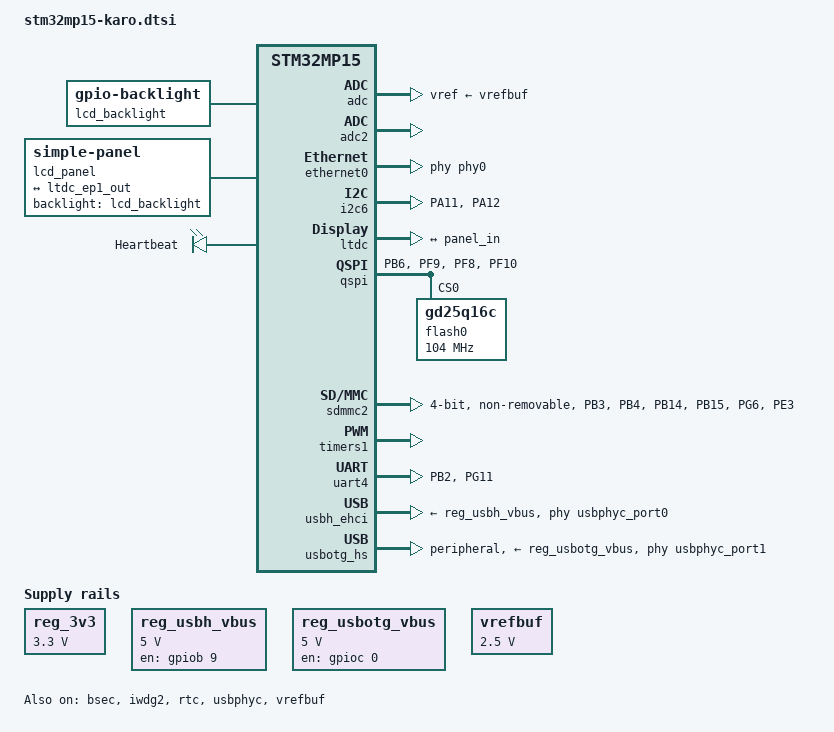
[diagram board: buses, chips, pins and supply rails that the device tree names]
// SPDX-License-Identifier: (GPL-2.0+ OR BSD-3-Clause)
/*
 * Copyright (C) 2020: Lothar Waßmann <LW@KARO-electronics.de>
 */

#include <dt-bindings/clock/stm32mp1-clksrc.h>
#include <dt-bindings/gpio/gpio.h>

/ {
	aliases {
		display = &lcd_panel;
		ethernet0 = &ethernet0;
		i2c0 = &i2c6;
		mmc0 = &sdmmc2;
		mmc1 = &sdmmc3;
		mmc2 = &sdmmc1;
		serial0 = &uart4;
		serial1 = &usart2;
		serial2 = &usart3;
		spinor0 = &flash0;
	};

	chosen {
		#address-cells = <1>;
		#size-cells = <1>;
		ranges;
		stdout-path = "serial0:115200n8";

		simplefb@cfd00000 {
			compatible = "simple-framebuffer";
			reg = <0xcfd00000 (640 * 480 * 2)>;
			width = <640>;
			height = <480>;
			stride = <(640 * 2)>;
			format = "r5g6b5";
			display = <&ltdc>;
			status = "okay";
		};
	};

	config {
		u-boot,mmc-env-partition = <1>;
		u-boot,mmc-env-offset = <0x1ff000>;
	};

	lcd_backlight: lcd-backlight {
		compatible = "gpio-backlight";
		default-on;
	};

	lcd_panel: panel {
		compatible = "simple-panel";
		pinctrl-names = "default", "sleep";
		pinctrl-0 = <&txmp_ltdc_pins>;
		pinctrl-1 = <&txmp_ltdc_pins_sleep>;
		backlight = <&lcd_backlight>;
		status = "okay";

		port {
			panel_in: endpoint {
				remote-endpoint = <&ltdc_ep1_out>;
			};
		};

		display-timings {
			native-mode = <&ETV570>;

			VGA {
				clock-frequency = <25200000>;
				hactive = <640>;
				vactive = <480>;
				hback-porch = <48>;
				hsync-len = <96>;
				hfront-porch = <16>;
				vback-porch = <31>;
				vsync-len = <2>;
				vfront-porch = <12>;
				hsync-active = <0>;
				vsync-active = <0>;
				de-active = <1>;
				pixelclk-active = <0>;
			};

			ETV570: ETV570 {
				u-boot,panel-name = "edt,et057090dhu";
				clock-frequency = <25200000>;
				hactive = <640>;
				vactive = <480>;
				hback-porch = <114>;
				hsync-len = <30>;
				hfront-porch = <16>;
				vback-porch = <32>;
				vsync-len = <3>;
				vfront-porch = <10>;
				hsync-active = <0>;
				vsync-active = <0>;
				de-active = <1>;
				pixelclk-active = <0>;
			};

			ET0350 {
				u-boot,panel-name = "edt,et0350g0dh6";
				clock-frequency = <6413760>;
				hactive = <320>;
				vactive = <240>;
				hback-porch = <34>;
				hsync-len = <34>;
				hfront-porch = <20>;
				vback-porch = <15>;
				vsync-len = <3>;
				vfront-porch = <4>;
				hsync-active = <0>;
				vsync-active = <0>;
				de-active = <1>;
				pixelclk-active = <0>;
			};

			ET0430 {
				u-boot,panel-name = "edt,et0430g0dh6";
				clock-frequency = <9009000>;
				hactive = <480>;
				vactive = <272>;
				hback-porch = <2>;
				hsync-len = <41>;
				hfront-porch = <2>;
				vback-porch = <2>;
				vsync-len = <10>;
				vfront-porch = <2>;
				hsync-active = <0>;
				vsync-active = <0>;
				de-active = <1>;
				pixelclk-active = <1>;
			};

			ET0500 {
				clock-frequency = <33264000>;
				hactive = <800>;
				vactive = <480>;
				hback-porch = <88>;
				hsync-len = <128>;
				hfront-porch = <40>;
				vback-porch = <33>;
				vsync-len = <2>;
				vfront-porch = <10>;
				hsync-active = <0>;
				vsync-active = <0>;
				de-active = <1>;
				pixelclk-active = <0>;
			};

			ET0700 { /* same as ET0500 */
				u-boot,panel-name = "edt,etm0700g0dh6";
				clock-frequency = <33264000>;
				hactive = <800>;
				vactive = <480>;
				hback-porch = <88>;
				hsync-len = <128>;
				hfront-porch = <40>;
				vback-porch = <33>;
				vsync-len = <2>;
				vfront-porch = <10>;
				hsync-active = <0>;
				vsync-active = <0>;
				de-active = <1>;
				pixelclk-active = <0>;
			};

			ETQ570 {
				clock-frequency = <6596040>;
				hactive = <320>;
				vactive = <240>;
				hback-porch = <38>;
				hsync-len = <30>;
				hfront-porch = <30>;
				vback-porch = <16>;
				vsync-len = <3>;
				vfront-porch = <4>;
				hsync-active = <0>;
				vsync-active = <0>;
				de-active = <1>;
				pixelclk-active = <0>;
			};
		};
	};

	leds {
		compatible = "gpio-leds";

		module_led: module-led {
			pinctrl-names = "default", "sleep";
			label = "Heartbeat";
			default-state = "on";
			linux,default-trigger = "heartbeat";
		};
	};

	reg_3v3: regulator-3v3 {
		compatible = "regulator-fixed";
		regulator-name = "3v3";
		regulator-min-microvolt = <3300000>;
		regulator-max-microvolt = <3300000>;
		regulator-always-on;
	};

	reg_usbh_vbus: regulator-usbh-vbus {
		compatible = "regulator-fixed";
		regulator-name = "USBH VBUS";
		regulator-min-microvolt = <5000000>;
		regulator-max-microvolt = <5000000>;
		enable-active-high;
		gpio = <&gpiob 9 GPIO_ACTIVE_HIGH>;
	};

	reg_usbotg_vbus: regulator-usbotg-vbus {
		compatible = "regulator-fixed";
		regulator-name = "USBOTG VBUS";
		regulator-min-microvolt = <5000000>;
		regulator-max-microvolt = <5000000>;
		enable-active-high;
		gpio = <&gpioc 0 GPIO_ACTIVE_HIGH>;
	};

	reserved-memory {
		#address-cells = <1>;
		#size-cells = <1>;
		ranges;

		framebuffer@cfd00000 {
			reg = <0xcfd00000 (640 * 480 * 4)>;
			no-map;
		};
	};

	sram: sram@10050000 {
		compatible = "mmio-sram";
		reg = <0x10050000 0x10000>;
		#address-cells = <1>;
		#size-cells = <1>;
		ranges = <0 0x10050000 0x10000>;

		dma_pool: dma_pool@0 {
			reg = <0x0 0x10000>;
			pool;
		};
	};
};

&adc {
	vref-supply = <&vrefbuf>;
	status = "okay";
};

&adc2 {
	st,adc-channels = <12>;
	status = "okay";
};

&bsec {
	status = "okay";
};

&ethernet0 {
	pinctrl-names = "default", "sleep";
	phy-handle = <&phy0>;
	clock-names = "stmmaceth", "mac-clk-tx", "mac-clk-rx",
		      "ethstp", "syscfg-clk", "eth-ck";
	clocks = <&rcc ETHMAC &rcc ETHTX &rcc ETHRX
		  &rcc ETHSTP &rcc SYSCFG &rcc ETHCK_K>;
	status = "okay";

	mdio0: mdio0 {
		#address-cells = <1>;
		#size-cells = <0>;
		compatible = "snps,dwmac-mdio";
	};
};

&i2c6 {
	pinctrl-names = "default", "sleep";
	pinctrl-0 = <&i2c6_pins>;
	pinctrl-1 = <&i2c6_sleep_pins>;
	status = "okay";
};

&iwdg2 {
	timeout-sec = <0>;
	status = "okay";
};

&ltdc {
	status = "okay";

	port {
		ltdc_ep1_out: endpoint {
			remote-endpoint = <&panel_in>;
		};
	};
};

&pwr_regulators {
	pwr-supply = <&reg_3v3>;
};

&usb33 {
	usb33-supply = <&reg18>;
};

&qspi {
	pinctrl-names = "default";
	pinctrl-0 = <&quadspi_pins>;
	reg = <0x58003000 0x1000>, <0x70000000 0x1000000>;
	status = "okay";

	flash0: spi-flash@0 {
		#address-cells = <1>;
		#size-cells = <1>;
		compatible = "gd25q16c", "spi-flash";
		reg = <0>;
		spi-rx-bus-width = <2>;
		spi-max-frequency = <104000000>;
		memory-map = <0x90000000 0x1000000>;
	};
};

&rtc {
	status = "okay";
};

&sdmmc2 {
	/* eMMC */
	pinctrl-names = "default", "opendrain", "sleep";
	pinctrl-0 = <&sdmmc2_pins>;
	pinctrl-1 = <&sdmmc2_opendrain_pins>;
	pinctrl-2 = <&sdmmc2_sleep_pins>;
	bus-width = <4>;
	no-sd;
	no-sdio;
	st,neg-edge;
	non-removable;
	status = "okay";
};

&timers1 {
	status = "okay";

	pwm {
		pinctrl-names = "default", "sleep";
		pinctrl-0 = <&tim1_pwm_pins>;
		pinctrl-1 = <&tim1_pwm_sleep_pins>;
		status = "okay";
	};
};

&uart4 {
	pinctrl-names = "default";
	pinctrl-0 = <&uart4_pins>;
	status = "okay";
};

&usbh_ehci {
	phy-names = "usb";
	phys = <&usbphyc_port0>;
	vbus-supply = <&reg_usbh_vbus>;
	status = "okay";
};

&usbotg_hs {
	dr_mode = "peripheral";
	phy-names = "usb2-phy";
	phys = <&usbphyc_port1 0>;
	vbus-supply = <&reg_usbotg_vbus>;
	u-boot,force-b-session-valid;
	hnp-srp-disable;
	status = "okay";
};

&usbphyc {
	status = "okay";
};

&usbphyc_port0 {
	phy-supply = <&reg_3v3>;
};

&usbphyc_port1 {
	phy-supply = <&reg_3v3>;
};

&vrefbuf {
	regulator-min-microvolt = <2500000>;
	regulator-max-microvolt = <2500000>;
	status = "okay";
};

&pinctrl {
	ethernet0_rmii_pins: ethernet0-rmii-pins {
		pins1 {
			pinmux = <
				  STM32_PINMUX('G', 8, AF2)	/* ETH_CLK */
				  STM32_PINMUX('C', 1, AF11)	/* ETH_MDC */
				  STM32_PINMUX('A', 2, AF11)	/* ETH_MDIO */
				  STM32_PINMUX('B', 11, AF11)	/* ETH_RMII_TX_EN */
				  STM32_PINMUX('G', 13, AF11)	/* ETH_RMII_TXD0 */
				  STM32_PINMUX('G', 14, AF11)	/* ETH_RMII_TXD1 */
			>;
			bias-disable;
			drive-push-pull;
			slew-rate = <2>;
		};

		pins2 {
			pinmux = <
				  STM32_PINMUX('C', 4, AF11) /* ETH_RMII_RXD0 */
				  STM32_PINMUX('C', 5, AF11) /* ETH_RMII_RXD1 */
				  STM32_PINMUX('A', 7, AF11) /* ETH_RMII_CRS_DV */
			>;
			bias-disable;
		};
	};

	ethernet0_rmii_pins_sleep: rmii-pins-sleep {
		pins1 {
			pinmux = <
				  STM32_PINMUX('G', 8, ANALOG) /* ETH_CLK */
				  STM32_PINMUX('G', 13, ANALOG) /* ETH_RMII_TXD0 */
				  STM32_PINMUX('G', 14, ANALOG) /* ETH_RMII_TXD1 */
				  STM32_PINMUX('B', 11, ANALOG) /* ETH_RMII_TX_EN */
				  STM32_PINMUX('A', 2, ANALOG) /* ETH_MDIO */
				  STM32_PINMUX('C', 1, ANALOG) /* ETH_MDC */
				  STM32_PINMUX('C', 4, ANALOG) /* ETH_RMII_RXD0 */
				  STM32_PINMUX('C', 5, ANALOG) /* ETH_RMII_RXD1 */
				  STM32_PINMUX('A', 7, ANALOG) /* ETH_RMII_CRS_DV */
			>;
		};
	};

	i2c6_pins: i2c6-pins {
		pins {
			pinmux = <
				 STM32_PINMUX('A', 11, AF2) /* I2C6_SCL */
				 STM32_PINMUX('A', 12, AF2) /* I2C6_SDA */
			>;
			bias-disable;
			drive-open-drain;
			slew-rate = <0>;
		};
	};

	i2c6_sleep_pins: i2c6-sleep-pins {
		pins {
			pinmux = <
				  STM32_PINMUX('A', 11, ANALOG) /* I2C6_SCL */
				  STM32_PINMUX('A', 12, ANALOG) /* I2C6_SDA */
			>;
		};
	};

	quadspi_pins: quadspi-pins {
		pins1 {
			pinmux = <
				  STM32_PINMUX('B', 6, AF10)	/* QUADSPI_BK1_NCS */
				  STM32_PINMUX('F', 9, AF10)	/* QUADSPI_BK1_IO1 */
				  STM32_PINMUX('F', 8, AF10)	/* QUADSPI_BK1_IO0 */
			>;
			bias-disable;
			drive-push-pull;
			slew-rate = <1>;
		};

		pins2 {
			pinmux = <STM32_PINMUX('F', 10, AF9)>; /* QUADSPI_CLK */
			bias-disable;
			drive-push-pull;
			slew-rate = <2>;
		};
	};

	sai2a_pins: sai2a-pins {
		pins {
			pinmux = <
				  STM32_PINMUX('D', 11, AF10) /* SAI2_SD_A */
				  STM32_PINMUX('D', 12, AF10) /* SAI2_FS_A */
				  STM32_PINMUX('D', 13, AF10) /* SAI2_SCK_A */
				  STM32_PINMUX('E', 0, AF10) /* SAI2_MCLK_A */
			>;
			bias-disable;
			drive-push-pull;
			slew-rate = <0>;
		};
	};

	sai2a_sleep_pins: sai2a-sleep-pins {
		pins {
			pinmux = <
				  STM32_PINMUX('D', 11, ANALOG) /* SAI2_SD_A */
				  STM32_PINMUX('D', 12, ANALOG) /* SAI2_FS_A */
				  STM32_PINMUX('D', 13, ANALOG) /* SAI2_SCK_A */
				  STM32_PINMUX('E', 0, ANALOG) /* SAI2_MCLK_A */
			>;
		};
	};

	sdmmc2_pins: sdmmc2-pins {
		pins1 {
			pinmux = <
				  STM32_PINMUX('B', 3, AF9)	/* SDMMC2_D2 */
				  STM32_PINMUX('B', 4, AF9)	/* SDMMC2_D3 */
				  STM32_PINMUX('B', 14, AF9)	/* SDMMC2_D0 */
				  STM32_PINMUX('B', 15, AF9)	/* SDMMC2_D1 */
				  STM32_PINMUX('G', 6, AF10)	/* SDMMC2_CMD */
			>;
			bias-disable;
			drive-push-pull;
			slew-rate = <1>;
		};

		pins2 {
			pinmux = <STM32_PINMUX('E', 3, AF9)>; /* SDMMC2_CK */
			bias-disable;
			drive-push-pull;
			slew-rate = <3>;
		};
	};

	sdmmc2_opendrain_pins: sdmmc2-opendrain-pins {
		pins1 {
			pinmux = <
				  STM32_PINMUX('G', 6, AF10)	/* SDMMC2_CMD */
			>;
			bias-pull-up;
			drive-open-drain;
			slew-rate = <1>;
		};

		pins2 {
			pinmux = <
				  STM32_PINMUX('B', 3, AF9)	/* SDMMC2_D2 */
				  STM32_PINMUX('B', 4, AF9)	/* SDMMC2_D3 */
				  STM32_PINMUX('B', 14, AF9)	/* SDMMC2_D0 */
				  STM32_PINMUX('B', 15, AF9)	/* SDMMC2_D1 */
			>;
			bias-disable;
			drive-push-pull;
			slew-rate = <1>;
		};

		pins3 {
			pinmux = <STM32_PINMUX('E', 3, AF9)>; /* SDMMC2_CK */
			bias-disable;
			drive-push-pull;
			slew-rate = <3>;
		};
	};

	sdmmc2_sleep_pins: sdmmc2-sleep-pins {
		pins {
			pinmux = <
				  STM32_PINMUX('B', 3, ANALOG)	/* SDMMC2_D2 */
				  STM32_PINMUX('B', 4, ANALOG)	/* SDMMC2_D3 */
				  STM32_PINMUX('B', 14, ANALOG)	/* SDMMC2_D0 */
				  STM32_PINMUX('B', 15, ANALOG)	/* SDMMC2_D1 */
				  STM32_PINMUX('G', 6, ANALOG)	/* SDMMC2_CMD */
				  STM32_PINMUX('E', 3, ANALOG)	/* SDMMC2_CK */
			>;
		};
	};

	spi2_pins: spi2-pins {
		pins {
			pinmux = <
				  STM32_PINMUX('B', 12, AF5) /* SPI2_NSS */
				  STM32_PINMUX('C', 3, AF5) /* SPI2_MOSI */
				  STM32_PINMUX('C', 2, AF5) /* SPI2_MISO */
				  STM32_PINMUX('A', 9, AF5) /* SPI2_SCK */
			>;
			bias-disable;
			drive-push-pull;
			slew-rate = <1>;
		};
	};

	spi2_sleep_pins: spi2-sleep-pins {
		pins {
			pinmux = <
				  STM32_PINMUX('B', 12, ANALOG) /* SPI2_NSS */
				  STM32_PINMUX('C', 3, ANALOG) /* SPI2_MOSI */
				  STM32_PINMUX('C', 2, ANALOG) /* SPI2_MISO */
				  STM32_PINMUX('A', 9, ANALOG) /* SPI2_SCK */
			>;
		};
	};

	tim1_pwm_pins: tim1-pwm-pins {
		pins {
			pinmux = <STM32_PINMUX('A', 10, AF1)>; /* TIM1_CH3 */
			bias-disable;
			drive-push-pull;
			slew-rate = <0>;
		};
	};

	tim1_pwm_sleep_pins: tim1-pwm-sleep-pins {
		pins {
			pinmux = <STM32_PINMUX('A', 10, ANALOG)>; /* TIM1_CH3 */
		};
	};

	txmp_led_pins: txmp-led-pins {
		pins {
			pinmux = <
				  STM32_PINMUX('E', 4, GPIO)	/* module LED */
			>;
			bias-pull-up;
			drive-push-pull;
			output-low;
			slew-rate = <0>;
		};
	};

	txmp_led_sleep_pins: txmp-led-sleep-pins {
		pins {
			pinmux = <
				  STM32_PINMUX('E', 4, ANALOG)	/* module LED */
			>;
		};
	};

	txmp_ltdc_pins: txmp-lcd-pins {
		pins {
			pinmux = <
				  STM32_PINMUX('G',  7, AF14) /* LCD_CLK */
				  STM32_PINMUX('C',  6, AF14) /* LCD_HSYNC */
				  STM32_PINMUX('A',  4, AF14) /* LCD_VSYNC */
				  STM32_PINMUX('E', 13, AF14) /* LCD_DE */
				  /* LCD_R0 missing! */
				  //STM32_PINMUX('G',  9, AF14) /* LCD_R1 */
				  STM32_PINMUX('C', 10, AF14) /* LCD_R2 */
				  STM32_PINMUX('B',  0,  AF9) /* LCD_R3 */
				  STM32_PINMUX('A',  5, AF14) /* LCD_R4 */
				  STM32_PINMUX('C',  0, AF14) /* LCD_R5 */
				  STM32_PINMUX('B',  1,  AF9) /* LCD_R6 */
				  STM32_PINMUX('E', 15, AF14) /* LCD_R7 */
				  //STM32_PINMUX('E', 14, AF13) /* LCD_G0 */
				  //STM32_PINMUX('E',  6, AF14) /* LCD_G1 */
				  STM32_PINMUX('A',  6, AF14) /* LCD_G2 */
				  STM32_PINMUX('E', 11, AF14) /* LCD_G3 */
				  STM32_PINMUX('B', 10, AF14) /* LCD_G4 */
				  STM32_PINMUX('F', 11, AF14) /* LCD_G5 */
				  STM32_PINMUX('C',  7, AF14) /* LCD_G6 */
				  STM32_PINMUX('D',  3, AF14) /* LCD_G7 */
				  //STM32_PINMUX('D',  9, AF14) /* LCD_B0 */
				  //STM32_PINMUX('G', 12, AF14) /* LCD_B1 */
				  STM32_PINMUX('G', 10, AF14) /* LCD_B2 */
				  STM32_PINMUX('D', 10, AF14) /* LCD_B3 */
				  STM32_PINMUX('E', 12, AF14) /* LCD_B4 */
				  STM32_PINMUX('A',  3, AF14) /* LCD_B5 */
				  STM32_PINMUX('B',  8, AF14) /* LCD_B6 */
				  STM32_PINMUX('D',  8, AF14) /* LCD_B7 */
			>;
			bias-disable;
			drive-push-pull;
			slew-rate = <3>;
		};
	};

	txmp_ltdc_pins_sleep: txmp-lcd-pins-sleep {
		pins {
			pinmux = <
				  STM32_PINMUX('G',  7, ANALOG) /* LCD_CLK */
				  STM32_PINMUX('C',  6, ANALOG) /* LCD_HSYNC */
				  STM32_PINMUX('A',  4, ANALOG) /* LCD_VSYNC */
				  STM32_PINMUX('E', 13, ANALOG) /* LCD_DE */
				  /* LCD_R0 missing! */
				  //STM32_PINMUX('G',  9, ANALOG) /* LCD_R1 */
				  STM32_PINMUX('C', 10, ANALOG) /* LCD_R2 */
				  STM32_PINMUX('B',  0, ANALOG) /* LCD_R3 */
				  STM32_PINMUX('A',  5, ANALOG) /* LCD_R4 */
				  STM32_PINMUX('C',  0, ANALOG) /* LCD_R5 */
				  STM32_PINMUX('B',  1, ANALOG) /* LCD_R6 */
				  STM32_PINMUX('E', 15, ANALOG) /* LCD_R7 */
				  //STM32_PINMUX('E', 14, ANALOG) /* LCD_G0 */
				  //STM32_PINMUX('E',  6, ANALOG) /* LCD_G1 */
				  STM32_PINMUX('A',  6, ANALOG) /* LCD_G2 */
				  STM32_PINMUX('E', 11, ANALOG) /* LCD_G3 */
				  STM32_PINMUX('B', 10, ANALOG) /* LCD_G4 */
				  STM32_PINMUX('F', 11, ANALOG) /* LCD_G5 */
				  STM32_PINMUX('C',  7, ANALOG) /* LCD_G6 */
				  STM32_PINMUX('D',  3, ANALOG) /* LCD_G7 */
				  //STM32_PINMUX('D',  9, ANALOG) /* LCD_B0 */
				  //STM32_PINMUX('G', 12, ANALOG) /* LCD_B1 */
				  STM32_PINMUX('G', 10, ANALOG) /* LCD_B2 */
				  STM32_PINMUX('D', 10, ANALOG) /* LCD_B3 */
				  STM32_PINMUX('E', 12, ANALOG) /* LCD_B4 */
				  STM32_PINMUX('A',  3, ANALOG) /* LCD_B5 */
				  STM32_PINMUX('B',  8, ANALOG) /* LCD_B6 */
				  STM32_PINMUX('D',  8, ANALOG) /* LCD_B7 */
			>;
		};
	};

	uart4_pins: uart4-pins {
		pins1 {
			pinmux = <STM32_PINMUX('B', 2, AF8)>; /* UART4_RX */
			bias-pull-up;
		};

		pins2 {
			pinmux = <STM32_PINMUX('G', 11, AF6)>; /* UART4_TX */
			bias-disable;
			drive-push-pull;
			slew-rate = <0>;
		};
	};
};
